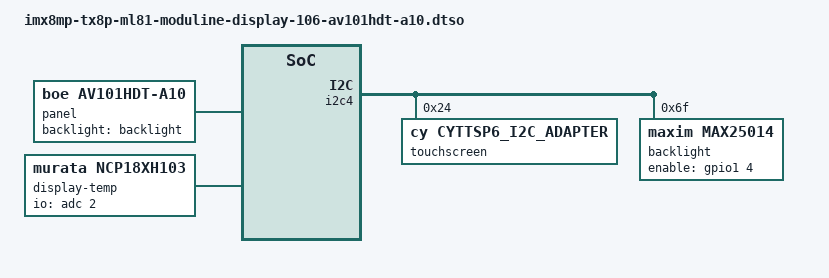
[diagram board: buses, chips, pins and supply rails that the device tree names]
// SPDX-License-Identifier: (GPL-2.0 OR MIT)
/*
 * Copyright 2025 GOcontroll B.V.
 * Author: Maud Spierings <maudspierings@gocontroll.com>
 */

/dts-v1/;
/plugin/;

#include <arm64/freescale/imx8mp-tx8p-ml81-moduline-display-106-av101hdt-a10.dtso>

&{/} {
	panel {
		compatible = "boe,av101hdt-a10", "simple-panel";
		backlight = <&backlight>;
		bus-format = <0x100a>;

		display-timings {
			timing {
				clock-frequency = <75330000>;
				hactive = <1280>;
				hfront-porch = <42>;
				hback-porch = <18>;
				hsync-len = <10>;
				vactive = <720>;
				vfront-porch = <183>;
				vback-porch = <8>;
				vsync-len = <19>;
				de-active = <1>;
			};
		};
	};

	tmd: thermistor-display {
		compatible = "murata,ncp18xh103";
		label = "display-temp";
		io-channels = <&adc 2>;
		pullup-uv = <3230000>;
		pullup-ohm = <10000>;
		pulldown-ohm = <0>;
		#thermal-sensor-cells = <0>;
	};
};

&adc {
	#io-channel-cells = <1>;
};

&i2c4 {
	#address-cells = <1>;
	#size-cells = <0>;

	touchscreen@24 {
		compatible = "cy,cyttsp6_i2c_adapter";
		reg = <0x24>;
		pinctrl-names = "default";
		pinctrl-0 = <&pinctrl_touch>;

		cy,core {
			cy,irq_gpio = <&gpio4 14 GPIO_ACTIVE_LOW>;
			cy,rst_gpio = <&gpio4 13 GPIO_ACTIVE_LOW>;
			cy,err_gpio = <&gpio1 5 GPIO_ACTIVE_LOW>;
			
			/* Enable cy,max_xfer_len to limit max I2C/SPI transfer length */
			cy,max_xfer_len = <256>;
			
			cy,mt {
				cy,inp_dev_name = "cyttsp6_mt";
				/* CY_MT_FLAG_FLIP | CY_MT_FLAG_INV_X | CY_MT_FLAG_INV_Y */
				/* cy,flags = <0x38>;*/
				cy,abs =
				/* ABS_MT_POSITION_X, CY_ABS_MIN_X, CY_ABS_MAX_X, 0, 0 */
				<0x35 0 1280 0 0
				/* ABS_MT_POSITION_Y, CY_ABS_MIN_Y, CY_ABS_MAX_Y, 0, 0 */
				0x36 0 720 0 0
				/* ABS_MT_PRESSURE, CY_ABS_MIN_P, CY_ABS_MAX_P, 0, 0 */
				0x3a 0 255 0 0
				/* CY_IGNORE_VALUE, CY_ABS_MIN_W, CY_ABS_MAX_W, 0, 0 */
				0xffff 0 255 0 0
				/* ABS_MT_TRACKING_ID, CY_ABS_MIN_T, CY_ABS_MAX_T, 0, 0 */
				0x39 0 15 0 0
				/* ABS_MT_TOUCH_MAJOR, 0, 255, 0, 0 */
				0x30 0 255 0 0
				/* ABS_MT_TOUCH_MINOR, 0, 255, 0, 0 */
				0x31 0 255 0 0
				/* ABS_MT_ORIENTATION, -127, 127, 0, 0 */
				0x34 0xffffff81 127 0 0
				/* ABS_MT_TOOL_TYPE, 0, MT_TOOL_MAX, 0, 0 */
				0x37 0 1 0 0
				/* ABS_DISTANCE, 0, 255, 0, 0 */
				0x19 0 255 0 0>;
			};
		};
	};

	backlight: backlight@6f {
		reg = <0x6f>;
		compatible = "maxim,max25014";
		bl-name = "max25014";
		default-brightness = <50>;
		pinctrl-names = "default";
		pinctrl-0 = <&pinctrl_backlight>;
		enable-gpios = <&gpio1 4 GPIO_ACTIVE_HIGH>;
		maxim,iset = <7>;
		maxim,strings = <1 1 1 0>;
	};
};

&iomuxc {
	pinctrl_backlight: backlightgrp {
		fsl,pins = <
			MX8MP_IOMUXC_GPIO1_IO04__GPIO1_IO04
				(MX8MP_PULL_UP | MX8MP_PULL_ENABLE)
		>;
	};

	pinctrl_touch: touchgrp {
		fsl,pins = <
			MX8MP_IOMUXC_GPIO1_IO05__GPIO1_IO05 /* COM pin 155 */
			(MX8MP_PULL_UP | MX8MP_PULL_ENABLE | MX8MP_HYS_SCHMITT)	
			MX8MP_IOMUXC_SAI1_TXD2__GPIO4_IO14 /* COM pin 113 */
			(MX8MP_PULL_UP | MX8MP_PULL_ENABLE | MX8MP_HYS_SCHMITT)
			MX8MP_IOMUXC_SAI1_TXD1__GPIO4_IO13 /* COM pin 114 */
			MX8MP_DSE_X1
		>;
	};
};

&{/thermal-zones} {
	display-thermal {
		polling-delay = <1000>;
		polling-delay-passive = <1000>;
		thermal-sensors = <&tmd>;

		trips {
			trip0 {
				temperature = <75000>;
				hysteresis = <5000>;
				type = "hot";
			};
		};
	};
};
